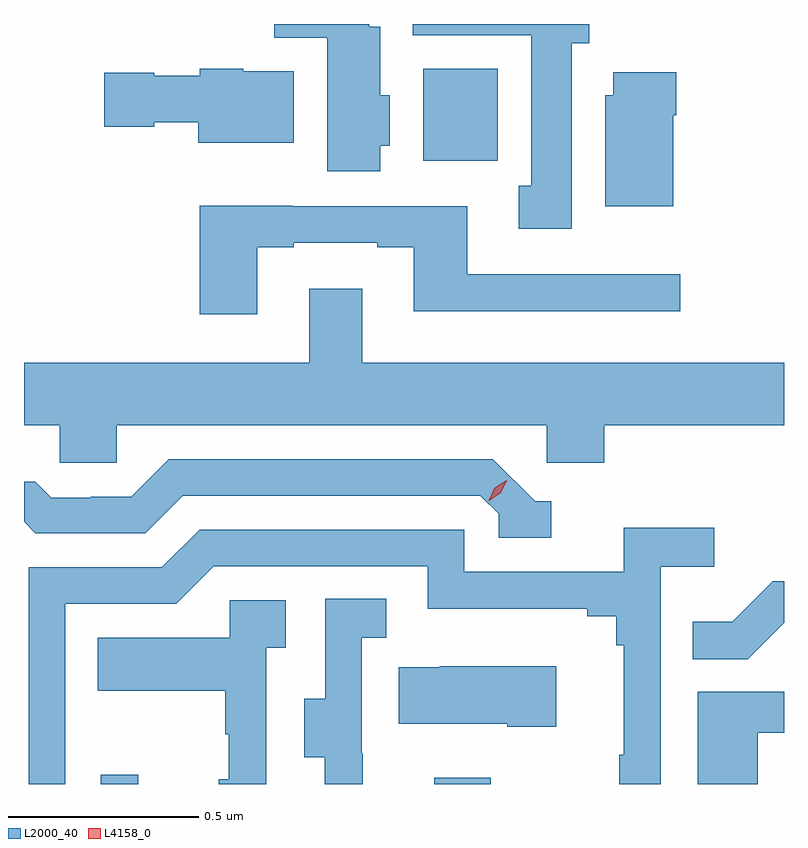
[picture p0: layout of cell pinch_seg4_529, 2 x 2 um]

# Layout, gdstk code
import gdstk
lib = gdstk.Library(unit=1e-6, precision=1e-09)
def R(c, l, rs):  # rectangles x0, y0, x1, y1
    for r in rs: c.add(gdstk.rectangle(r[:2], r[2:], *l))
def P(c, l, *ps):  # polygons
    for p in ps: c.add(gdstk.Polygon(p, *l))
L2000_40 = (2000, 40)
L4158_0 = (4158, 0)

pinch_seg4_529 = lib.new_cell('pinch_seg4_529')
R(pinch_seg4_529, L2000_40, [(980.955,750.588,981.053,750.613), (981.833,750.588,981.981,750.604), (981.803,752.228,982,752.47)])
P(pinch_seg4_529, L2000_40, [(981.691,752.268),(981.715,752.268),(981.715,752.4),(981.691,752.4),(981.691,752.581),(981.661,752.581),(981.661,752.588),(981.412,752.588),(981.412,752.552),(981.551,752.552),(981.551,752.201),(981.691,752.201)],
  [(982.195,752.538),(982.24,752.538),(982.24,752.588),(981.776,752.588),(981.776,752.558),(982.088,752.558),(982.088,752.162),(982.055,752.162),(982.055,752.049),(982.195,752.049)],
  [(981.463,752.464),(981.33,752.464),(981.33,752.47),(981.216,752.47),(981.216,752.452),(981.096,752.452),(981.096,752.46),(980.964,752.46),(980.964,752.318),(981.096,752.318),(981.096,752.33),(981.212,752.33),(981.212,752.276),(981.463,752.276)],
  [(982.462,752.348),(982.47,752.348),(982.47,752.461),(982.304,752.461),(982.304,752.4),(982.283,752.4),(982.283,752.108),(982.462,752.108)],
  [(981.367,752.001),(981.463,752.001),(981.463,752.013),(981.683,752.013),(981.683,752.001),(981.779,752.001),(981.779,751.832),(982.48,751.832),(982.48,751.929),(981.919,751.929),(981.919,752.109),(981.459,752.109),(981.459,752.11),(981.215,752.11),(981.215,751.824),(981.367,751.824)],
  [(981.503,751.891),(981.503,751.696),(980.753,751.696),(980.753,751.532),(980.847,751.532),(980.847,751.434),(980.997,751.434),(980.997,751.532),(982.128,751.532),(982.128,751.434),(982.28,751.434),(982.28,751.532),(982.753,751.532),(982.753,751.696),(981.643,751.696),(981.643,751.891)],
  [(982.141,751.332),(982.098,751.332),(981.987,751.443),(981.134,751.443),(981.035,751.344),(980.928,751.344),(980.928,751.341),(980.825,751.341),(980.783,751.384),(980.753,751.384),(980.753,751.278),(980.783,751.248),(981.072,751.248),(981.171,751.347),(981.954,751.347),(982.002,751.299),(982.002,751.236),(982.141,751.236)],
  [(980.862,751.062),(981.153,751.062),(981.252,751.161),(981.816,751.161),(981.816,751.049),(982.235,751.049),(982.235,751.03),(982.312,751.03),(982.312,750.953),(982.331,750.953),(982.331,750.665),(982.32,750.665),(982.32,750.588),(982.428,750.588),(982.428,751.16),(982.57,751.16),(982.57,751.262),(982.331,751.262),(982.331,751.146),(981.912,751.146),(981.912,751.257),(981.215,751.257),(981.116,751.158),(980.766,751.158),(980.766,750.588),(980.862,750.588)],
  [(982.753,751.012),(982.753,751.122),(982.724,751.122),(982.617,751.015),(982.513,751.015),(982.513,750.916),(982.657,750.916)],
  [(981.644,750.669),(981.642,750.669),(981.642,750.973),(981.706,750.973),(981.706,751.076),(981.546,751.076),(981.546,750.813),(981.491,750.813),(981.491,750.658),(981.545,750.658),(981.545,750.588),(981.644,750.588)],
  [(981.39,750.947),(981.442,750.947),(981.442,751.071),(981.294,751.071),(981.294,750.973),(980.947,750.973),(980.947,750.833),(981.282,750.833),(981.282,750.719),(981.292,750.719),(981.292,750.6),(981.266,750.6),(981.266,750.588),(981.39,750.588)],
  [(982.153,750.898),(981.847,750.898),(981.847,750.895),(981.739,750.895),(981.739,750.746),(982.025,750.746),(982.025,750.739),(982.153,750.739)],
  [(982.684,750.723),(982.753,750.723),(982.753,750.831),(982.526,750.831),(982.526,750.588),(982.684,750.588)])
P(pinch_seg4_529, L4158_0, [(981.976,751.334),(981.976,751.334),(981.992,751.367),(982.023,751.387),(982.023,751.387),(982.023,751.387),(982.007,751.354),(981.977,751.334)])

lib.write_gds('pinch_seg4_529.gds')
